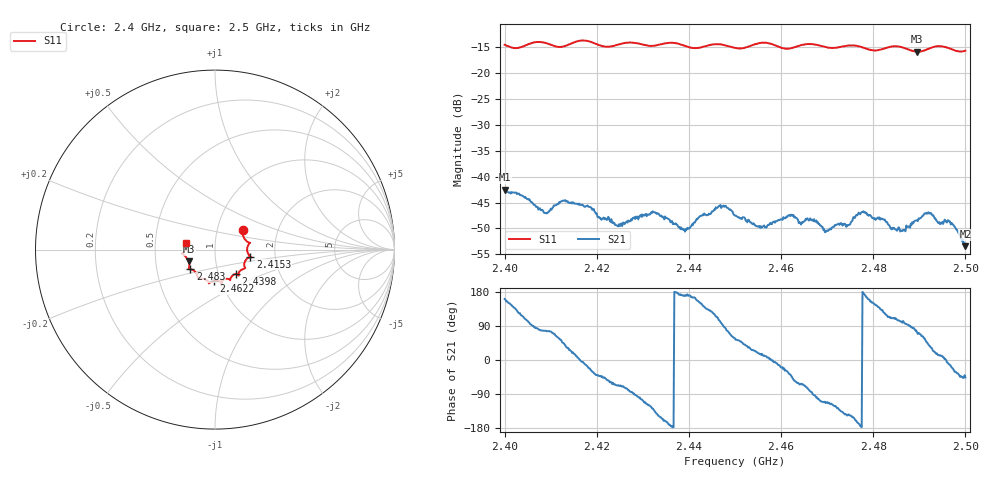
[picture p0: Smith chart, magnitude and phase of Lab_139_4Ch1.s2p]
# Hz S RI R 50
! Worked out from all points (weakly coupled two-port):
!   601 points, 2.4 GHz to 2.5 GHz, reference 50 ohm
!   highest |S21| = -42.53 dB at 2.4 GHz (marker M1); lowest = -53.4 dB at 2.5 GHz (marker M2)
!   lowest |S11| = -15.9 dB at 2.4895 GHz (marker M3), VSWR 1.38, Z = 36.9 - j5 ohm
!   |S11| at or under -10 dB: start of sweep to end of sweep
!   S12 and S22 are empty: the file has one direction only
!   S11 on the Smith chart (normalised r, x): 2.4 GHz: 1.33, +0.29; 2.4153 GHz: 1.48, -0.12; 2.4398 GHz: 1.21, -0.34; 2.4622 GHz: 0.93, -0.33; 2.483 GHz: 0.74, -0.17; 2.5 GHz: 0.72, +0.06
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2.4e9  0.1545 0.1066  -0.00707 0.00242  0 0  0 0
2.409e9  0.1918 0.0344  0.00102 0.00436  0 0  0 0
2.412667e9  0.1799 -0.0102  0.00412 0.00418  0 0  0 0
2.415333e9  0.1964 -0.0391  0.00532 0.00134  0 0  0 0
2.416667e9  0.2017 -0.0425  0.00531 -0.000372  0 0  0 0
2.4245e9  0.1636 -0.0918  0.00129 -0.00307  0 0  0 0
2.433333e9  0.1309 -0.1338  -0.00367 -0.00242  0 0  0 0
2.439833e9  0.115 -0.1365  -0.00308 0.00059  0 0  0 0
2.446333e9  0.0849 -0.1701  -0.00167 0.00479  0 0  0 0
2.45e9  0.0648 -0.1626  0.0023 0.00352  0 0  0 0
2.456333e9  0.0386 -0.1931  0.00331 0.000695  0 0  0 0
2.462167e9  -0.00731 -0.1736  0.00323 -0.00283  0 0  0 0
2.466667e9  -0.034 -0.1875  0.000347 -0.00377  0 0  0 0
2.47e9  -0.0477 -0.17  -0.00109 -0.00282  0 0  0 0
2.477833e9  -0.0984 -0.1462  -0.00462 0.000297  0 0  0 0
2.483e9  -0.1375 -0.1095  -0.00166 0.00324  0 0  0 0
2.483333e9  -0.1399 -0.1094  -0.00141 0.00311  0 0  0 0
2.4865e9  -0.1445 -0.1011  -0.000682 0.00299  0 0  0 0
2.4895e9  -0.1466 -0.066  0.00112 0.00363  0 0  0 0
2.492167e9  -0.1697 -0.0334  0.00349 0.0027  0 0  0 0
2.496667e9  -0.1722 -0.01  0.00358 -0.000848  0 0  0 0
2.5e9  -0.1599 0.0392  0.00148 -0.00153  0 0  0 0
